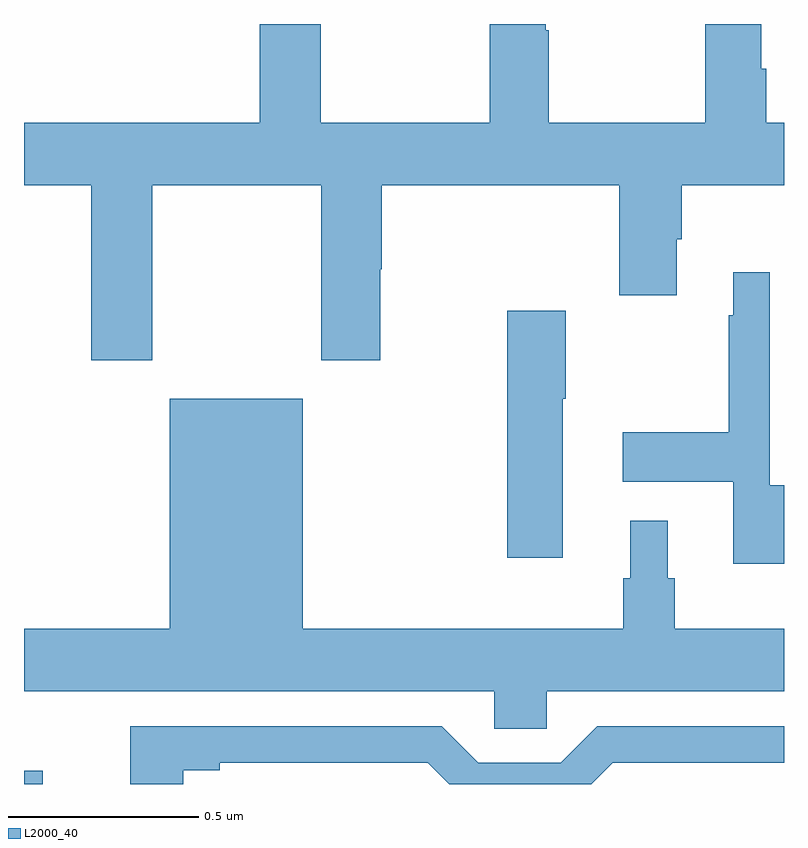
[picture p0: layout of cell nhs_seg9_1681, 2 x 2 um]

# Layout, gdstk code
import gdstk
lib = gdstk.Library(unit=1e-6, precision=1e-09)
def R(c, l, rs):  # rectangles x0, y0, x1, y1
    for r in rs: c.add(gdstk.rectangle(r[:2], r[2:], *l))
def P(c, l, *ps):  # polygons
    for p in ps: c.add(gdstk.Polygon(p, *l))
L2000_40 = (2000, 40)

nhs_seg9_1681 = lib.new_cell('nhs_seg9_1681')
R(nhs_seg9_1681, L2000_40, [(131,1205.5,131.049,1205.535)])
P(nhs_seg9_1681, L2000_40, [(131.337,1207.076),(131.782,1207.076),(131.782,1206.615),(131.937,1206.615),(131.937,1206.854),(131.942,1206.854),(131.942,1207.076),(132.566,1207.076),(132.566,1206.786),(132.718,1206.786),(132.718,1206.934),(132.731,1206.934),(132.731,1207.076),(133,1207.076),(133,1207.24),(132.953,1207.24),(132.953,1207.382),(132.94,1207.382),(132.94,1207.5),(132.793,1207.5),(132.793,1207.24),(132.381,1207.24),(132.381,1207.484),(132.373,1207.484),(132.373,1207.5),(132.226,1207.5),(132.226,1207.24),(131.781,1207.24),(131.781,1207.5),(131.621,1207.5),(131.621,1207.24),(131,1207.24),(131,1207.076),(131.177,1207.076),(131.177,1206.615),(131.337,1206.615)],
  [(133,1206.286),(132.963,1206.286),(132.963,1206.847),(132.866,1206.847),(132.866,1206.734),(132.855,1206.734),(132.855,1206.426),(132.576,1206.426),(132.576,1206.296),(132.866,1206.296),(132.866,1206.08),(133,1206.08)],
  [(132.418,1206.514),(132.426,1206.514),(132.426,1206.745),(132.272,1206.745),(132.272,1206.096),(132.418,1206.096)],
  [(132.375,1205.744),(133,1205.744),(133,1205.908),(132.713,1205.908),(132.713,1206.042),(132.694,1206.042),(132.694,1206.193),(132.596,1206.193),(132.596,1206.042),(132.577,1206.042),(132.577,1205.908),(131.734,1205.908),(131.734,1206.514),(131.384,1206.514),(131.384,1205.908),(131,1205.908),(131,1205.744),(132.237,1205.744),(132.237,1205.646),(132.375,1205.646)],
  [(131.419,1205.536),(131.515,1205.536),(131.515,1205.556),(132.063,1205.556),(132.119,1205.5),(132.493,1205.5),(132.549,1205.556),(133,1205.556),(133,1205.652),(132.509,1205.652),(132.413,1205.556),(132.195,1205.556),(132.099,1205.652),(131.279,1205.652),(131.279,1205.5),(131.419,1205.5)])

lib.write_gds('nhs_seg9_1681.gds')
